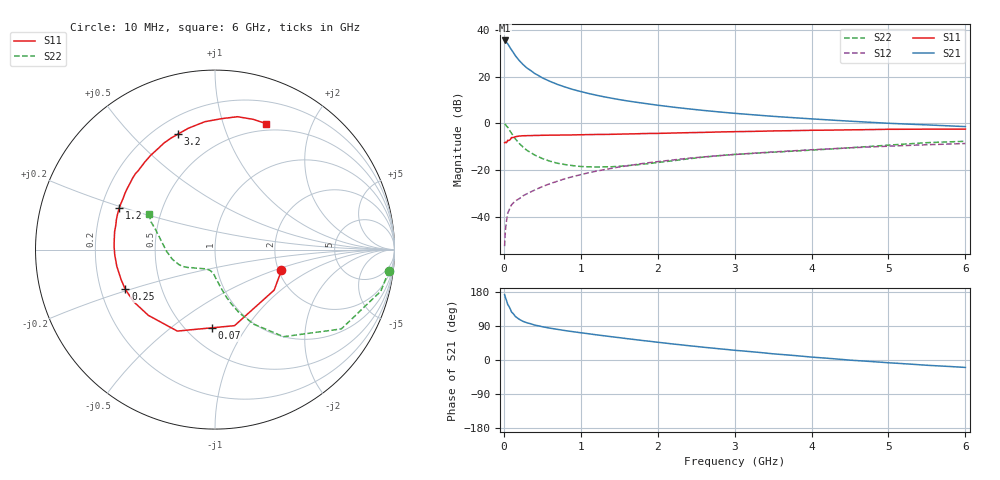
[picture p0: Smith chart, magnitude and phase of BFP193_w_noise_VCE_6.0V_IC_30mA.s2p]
! (c) 2017  Infineon Technologies AG, Munich
! Infineon Technologies  Discrete & RF Semiconductors
! BFP193
! VCE =  6.0 V,  IC =  30 mA
! Common Emitter S-Parameters:  Jan 2017
# GHz  S  MA  R  50
!  f  S11  S21  S12  S22
! GHz  MAG  ANG  MAG  ANG  MAG  ANG  MAG  ANG
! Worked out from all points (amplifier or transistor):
!   77 points, 10 MHz to 6 GHz, reference 50 ohm
!   highest |S21| = 35.4 dB at 10 MHz (marker M1)
!   |S21| within 3 dB of that: start of sweep to 79.83 MHz
!   unconditionally stable (mu >= 1): 698.4 MHz to 2.394 GHz
!   at 130 MHz: K = 0.47, MSG = 31.8 dB, |S12| = -33.7 dB
!   at 2.2 GHz: K = 1.01, MAG = 10.6 dB, |S12| = -15.6 dB
!   at 6 GHz: K = 0.91, MSG = 3.6 dB, |S12| = -8.6 dB
!   lowest NFmin = 1.22 dB at 450 MHz
!   S11 on the Smith chart (normalised r, x): 10 MHz: 2.07, -0.56; 70 MHz: 0.66, -0.71; 250 MHz: 0.31, -0.19; 1.2 GHz: 0.28, +0.19; 3.2 GHz: 0.29, +0.69; 6 GHz: 0.43, +1.40
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0.01  0.388 -17.3  59.18 172.3  0.0024 79.6  0.9765 -6.9
0.02  0.3995 -34.4  58.44 165.4  0.0051 83.4  0.9524 -14.1
0.05  0.4376 -75.6  50.42 146.8  0.0119 66.6  0.8311 -32.1
0.07  0.4363 -92.4  44.53 140.2  0.0144 62.6  0.7359 -38.6
0.1  0.5001 -114.8  37.23 126.6  0.0183 58.7  0.6174 -51.8
0.15  0.5217 -135.4  27.94 114.8  0.0222 55.2  0.4679 -62.6
0.2  0.5383 -147.4  22.07 107.4  0.0248 56.3  0.3748 -69.2
0.25  0.5465 -156.1  18.11 101.9  0.0286 56.0  0.3123 -73.5
0.3  0.549 -161.9  15.29 98.2  0.0315 57.3  0.2672 -76.9
0.4  0.5549 -170.3  11.7 92.2  0.0378 60.6  0.2119 -81.5
0.5  0.5592 -176.9  9.423 87.8  0.0448 62.0  0.1783 -85.4
0.7  0.5643 173.9  6.797 80.8  0.0587 64.3  0.1411 -91.8
0.9  0.5692 166.4  5.303 74.7  0.0736 64.2  0.1256 -98.3
1.1  0.5782 159.7  4.375 69.3  0.0885 63.5  0.1186 -104.7
1.2  0.5818 156.4  4.016 66.5  0.0957 62.9  0.1174 -107.9
1.6  0.5964 144.8  3.042 56.4  0.1246 59.3  0.1253 -122.0
2.1  0.619 131.3  2.341 44.6  0.1598 54.1  0.1532 -138.1
3.1  0.6716 109.5  1.598 24.0  0.2231 42.1  0.223 -159.9
3.2  0.6758 107.7  1.551 22.2  0.2289 41.0  0.2278 -161.9
4.1  0.7171 93.0  1.224 6.2  0.2797 30.8  0.2759 179.5
5.1  0.7512 79.1  0.993 -8.5  0.3319 19.5  0.353 160.9
6  0.7575 67.8  0.858 -19.6  0.373 9.5  0.4168 151.9
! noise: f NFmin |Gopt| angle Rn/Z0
0.45  1.22  0.33  -174  0.08
0.9  1.27  0.38  -173  0.07
1.9  1.89  0.57  -137  0.17
2.4  2.22  0.62  -121  0.38
